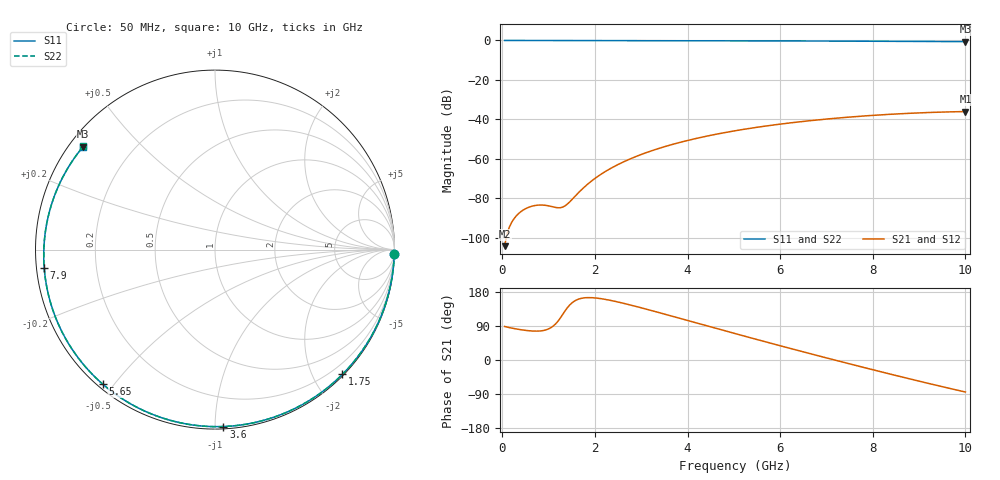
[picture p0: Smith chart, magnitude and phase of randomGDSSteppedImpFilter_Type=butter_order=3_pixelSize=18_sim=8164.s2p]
! freq	dB(S11)	phase(S11)	dB(S12)	phase(S12)
!  dB(S21)	phase(S21)	dB(S22)	phase(S22)
!S-par simulation data
#  GHz  S  DB  R 50
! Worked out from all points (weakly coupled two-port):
!   200 points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, 50 MHz to 10 GHz, reference 50 ohm
!   highest |S21| = -36.01 dB at 10 GHz (marker M1); lowest = -104.2 dB at 50 MHz (marker M2)
!   lowest |S11| = -0.6 dB at 10 GHz (marker M3), VSWR 28.56, Z = 1.96 + j17.2 ohm
!   |S11| at or under -10 dB: nowhere
!   |S22| runs from -0.6 to 0.0 dB; largest |S21 - S12| = 0
!   S11 on the Smith chart (normalised r, x): 50 MHz: 1, -91; 1.75 GHz: 0.02, -2.45; 3.6 GHz: 0.01, -1.05; 5.65 GHz: 0.01, -0.47; 7.9 GHz: 0.02, -0.05; 10 GHz: 0.04, +0.34
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0.05  -0.00 -1.3  -104.18 88.4  -104.18 88.4  -0.00 -1.3
0.4  -0.02 -10.3  -86.72 79.9  -86.72 79.9  -0.02 -10.3
0.75  -0.03 -19.3  -83.45 76.2  -83.45 76.2  -0.03 -19.3
1.5  -0.05 -38.2  -80.69 150.3  -80.69 150.3  -0.05 -38.2
1.55  -0.05 -39.5  -79.45 154.9  -79.45 154.9  -0.05 -39.5
1.75  -0.06 -44.4  -74.72 163.7  -74.72 163.7  -0.06 -44.4
2.05  -0.07 -51.7  -69.05 163.2  -69.05 163.2  -0.07 -51.7
2.45  -0.08 -61.2  -63.42 154.4  -63.42 154.4  -0.08 -61.2
2.9  -0.09 -71.6  -58.65 140.9  -58.65 140.9  -0.09 -71.7
3.4  -0.11 -82.9  -54.54 124.6  -54.54 124.6  -0.11 -82.9
3.6  -0.11 -87.3  -53.14 117.9  -53.14 117.9  -0.11 -87.3
4.3  -0.14 -102.3  -49.04 94.2  -49.04 94.2  -0.14 -102.4
5.05  -0.18 -117.8  -45.65 69.0  -45.65 69.0  -0.18 -117.8
5.65  -0.21 -129.8  -43.47 49.1  -43.47 49.1  -0.21 -129.8
6.2  -0.24 -140.6  -41.80 31.1  -41.80 31.1  -0.24 -140.6
6.7  -0.28 -150.3  -40.50 15.0  -40.50 15.0  -0.28 -150.4
7.3  -0.33 -162.0  -39.19 -3.9  -39.19 -3.9  -0.33 -162.1
7.9  -0.38 -173.8  -38.10 -22.6  -38.10 -22.6  -0.38 -173.9
8.35  -0.43 177.2  -37.43 -36.4  -37.43 -36.4  -0.43 177.1
8.8  -0.47 168.0  -36.88 -49.9  -36.88 -49.9  -0.47 167.9
9.2  -0.52 159.6  -36.50 -61.7  -36.50 -61.7  -0.52 159.5
10  -0.61 142.0  -36.01 -84.5  -36.01 -84.5  -0.61 141.9
